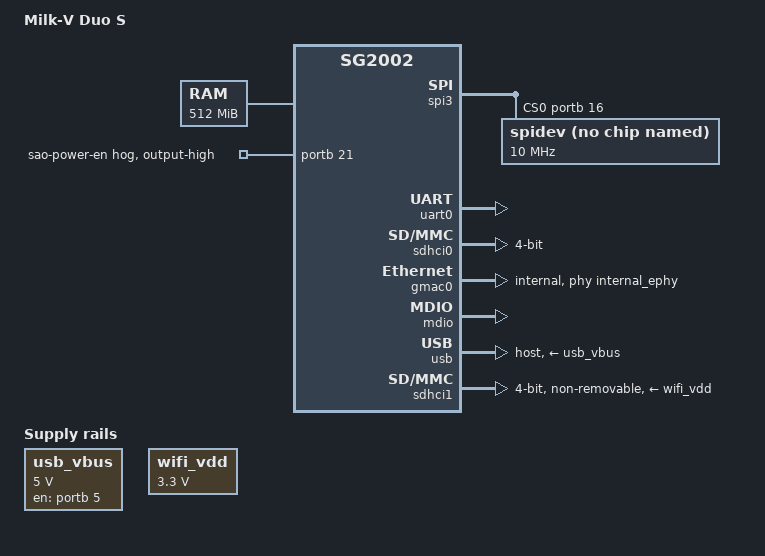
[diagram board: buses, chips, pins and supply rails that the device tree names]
// SPDX-License-Identifier: (GPL-2.0 OR MIT)
/*
 * Device tree for the Milk-V Duo S RISC-V core (Sophgo SG2000, T-Head C906).
 *
 * The SG2000 die is the SG2002 family (cv181x/cv180x) with an added ARM core.
 * From the C906 the SoC is identical to the SG2002. The mainline sg2002.dtsi
 * applies directly.
 *
 * Based on arch/riscv/boot/dts/sophgo/sg2002-licheerv-nano-b.dts.
 *
 * Nodes included (boot-focused):
 *   - uart0: console at ttyS0, 115200n8.
 *   - sdhci0: SD card root (NIXOS_RISCV label), 4-bit bus.
 *   - osc: 25 MHz oscillator (same as LicheeRV Nano).
 *   - memory: overrides the sg2002.dtsi 256MB with 512MB
 *     (0x80000000/0x20000000) to match the firmware memory map.
 *   - Ethernet/gmac0: SG2000 internal EPHY (phy-mode = "internal"). No external
 *     PHY. The dtsi sets phy-handle=<&internal_ephy> and phy-mode="internal";
 *     enable the MAC and MDIO. Mirrors mainline cv1812h-huashan-pi.dts.
 *   - USB: dr_mode = "host" for the USB-A host port. VBUS enable is GPIO portb
 *     pin 5 (USB_VBUS_EN); upstream omits the regulator node.
 *
 * Nodes omitted:
 *   - LEDs, GPIO buttons, camera/CSI: not in the mainline sg2002 dtsi.
 *
 * The CPU (thead,c906, rv64imafdc, sv39) comes from cv180x-cpus.dtsi via
 * sg2002.dtsi.
 */

/dts-v1/;
#include "sg2002.dtsi"
#include <dt-bindings/gpio/gpio.h>

/*
 * Pin IDs and the pin controller.
 *
 * The Duo S carries an SG2000 die, not the SG2002 that sg2002.dtsi assumes.
 * The two packages have different pin tables and are not interchangeable:
 *
 *   pinctrl-sg2002.h   65 QFN pins, flat indices,   no VIVO pads
 *   pinctrl-sg2000.h  110 BGA pins, row/col coords, has VIVO pads
 *
 * For example UART0_TX is 18 on SG2002 but PINPOS('M', 5) on SG2000.
 *
 * SPI3 drives the WS2812 LED ring. The SPI3 pads are VIVO_D5..D8, which the
 * SG2002 table cannot name. Bind the pin controller to the SG2000 driver (see
 * the &pinctrl compatible override below) and give every pinmux an SG2000
 * coordinate. These identifiers match the ARM DTS, so both cores name the pads
 * the same way.
 *
 * Define the pads here rather than include pinctrl-sg2000.h. sg2002.dtsi
 * already includes pinctrl-sg2002.h, and the two headers define the same PIN_*
 * names with different values.
 */
#define PINPOS(row, col)	((((row) - 'A' + 1) << 8) + ((col) - 1))

#define DUOS_UART0_TX		PINPOS('M', 5)
#define DUOS_UART0_RX		PINPOS('M', 4)

#define DUOS_SD0_CLK		PINPOS('L', 1)
#define DUOS_SD0_CMD		PINPOS('L', 3)
#define DUOS_SD0_D0		PINPOS('L', 2)
#define DUOS_SD0_D1		PINPOS('K', 3)
#define DUOS_SD0_D2		PINPOS('M', 2)
#define DUOS_SD0_D3		PINPOS('M', 1)
#define DUOS_SD0_CD		PINPOS('K', 2)

#define DUOS_SD1_CLK		PINPOS('G', 14)
#define DUOS_SD1_CMD		PINPOS('G', 15)
#define DUOS_SD1_D0		PINPOS('H', 15)
#define DUOS_SD1_D1		PINPOS('H', 14)
#define DUOS_SD1_D2		PINPOS('F', 14)
#define DUOS_SD1_D3		PINPOS('G', 13)

/* SPI3 on the 40-pin header: pin19 MOSI, pin21 MISO, pin23 SCK, pin24 CS */
#define DUOS_VIVO_D5		PINPOS('B', 10)
#define DUOS_VIVO_D6		PINPOS('C', 10)
#define DUOS_VIVO_D7		PINPOS('B', 11)
#define DUOS_VIVO_D8		PINPOS('C', 11)

/ {
	model = "Milk-V Duo S";
	compatible = "milkv,duo-s", "sophgo,sg2002";

	aliases {
		serial0 = &uart0;
		/* The SPI core sets bus_num from of_alias_get_id(node, "spi")
		 * and falls back to dynamic numbering when no alias matches
		 * (drivers/spi/spi.c). Without this alias the only enabled
		 * controller takes bus 0 and spidev appears as /dev/spidev0.0. */
		spi3 = &spi3;
	};

	chosen {
		stdout-path = "serial0:115200n8";
	};

	/* Override the sg2002.dtsi 256MB with 512MB to match the firmware memmap. */
	memory@80000000 {
		device_type = "memory";
		reg = <0x80000000 0x20000000>;
	};

	/*
	 * OpenSBI stays resident in M-mode at 0x80000000 and PMP-protects its
	 * own memory from S-mode. Its boot banner states the regions:
	 *
	 *   Domain0 Region01 : 0x80000000-0x8003ffff M: (F,R,X) S/U: ()
	 *   Domain0 Region00 : 0x80040000-0x8005ffff M: (F,R,W) S/U: ()
	 *
	 * So 0x80000000..0x8005ffff (384 KB) is unreachable from Linux.
	 *
	 * OpenSBI normally patches an mmode_resv node into the device tree it
	 * hands onward. The boot chain is OpenSBI -> U-Boot -> a DTB loaded
	 * fresh from the FAT boot partition, so that fixup never reaches the
	 * DTB that Linux receives. Without this node the kernel treats the
	 * firmware memory as free RAM, hands out the page at 0x80000000, and
	 * faults when it zeroes that page (physical 0x80000000 maps to
	 * PAGE_OFFSET_L3, the base of the sv39 linear map).
	 *
	 * Reserve 512 KB, the 384 KB rounded up, to allow room for an OpenSBI
	 * version bump.
	 */
	reserved-memory {
		#address-cells = <1>;
		#size-cells = <1>;
		ranges;

		mmode_resv0@80000000 {
			reg = <0x80000000 0x80000>;
			no-map;
		};
	};
};

&osc {
	clock-frequency = <25000000>;
};

/* Rebind the pin controller to the SG2000 driver so the VIVO pads exist. The
 * node (pinctrl@3001000) comes from sg2002.dtsi as "sophgo,sg2002-pinctrl".
 * Both drivers use the same register block but a different pin table.
 * CONFIG_PINCTRL_SOPHGO_SG2000 must be enabled in the kernel. */
&pinctrl {
	compatible = "sophgo,sg2000-pinctrl";

	uart0_cfg: uart0-cfg {
		uart0-pins {
			pinmux = <PINMUX(DUOS_UART0_TX, 0)>,
				 <PINMUX(DUOS_UART0_RX, 0)>;
			bias-pull-up;
			drive-strength-microamp = <10800>;
			power-source = <3300>;
		};
	};

	sdhci0_cfg: sdhci0-cfg {
		sdhci0-clk-pins {
			pinmux = <PINMUX(DUOS_SD0_CLK, 0)>;
			bias-pull-up;
			drive-strength-microamp = <16100>;
			power-source = <3300>;
		};

		sdhci0-cmd-pins {
			pinmux = <PINMUX(DUOS_SD0_CMD, 0)>;
			bias-pull-up;
			drive-strength-microamp = <10800>;
			power-source = <3300>;
		};

		sdhci0-data-pins {
			pinmux = <PINMUX(DUOS_SD0_D0, 0)>,
				 <PINMUX(DUOS_SD0_D1, 0)>,
				 <PINMUX(DUOS_SD0_D2, 0)>,
				 <PINMUX(DUOS_SD0_D3, 0)>;
			bias-pull-up;
			drive-strength-microamp = <10800>;
			power-source = <3300>;
		};

		sdhci0-cd-pins {
			pinmux = <PINMUX(DUOS_SD0_CD, 0)>;
			bias-pull-up;
			drive-strength-microamp = <10800>;
			power-source = <3300>;
		};
	};

	/* SPI3 for the WS2812 ring, mux 5 on the VIVO pads. Each subnode needs
	 * power-source: the mainline sophgo pinctrl rejects a pinmux subnode
	 * without it and fails pinctrl_bind_pins before dw_spi_mmio_probe runs. */
	spi3_cfg: spi3-cfg {
		spi3-sck-pins {
			pinmux = <PINMUX(DUOS_VIVO_D6, 5)>;
			drive-strength-microamp = <10800>;
			power-source = <3300>;
		};

		spi3-sdo-pins {
			pinmux = <PINMUX(DUOS_VIVO_D8, 5)>;
			drive-strength-microamp = <10800>;
			power-source = <3300>;
		};

		spi3-sdi-pins {
			pinmux = <PINMUX(DUOS_VIVO_D7, 5)>;
			drive-strength-microamp = <10800>;
			power-source = <3300>;
		};

		/* CS is a GPIO here, not SPI3_CS. Mux 3 is XGPIOB_16; mux 5
		 * would be SPI3_CS. U10 gates LED_DIN with CS through an AND
		 * gate and needs CS active-high, which the native DW CS cannot
		 * do. See the cs-gpios comment on &spi3. */
		spi3-cs-pins {
			pinmux = <PINMUX(DUOS_VIVO_D5, 3)>;
			drive-strength-microamp = <10800>;
			power-source = <3300>;
		};
	};
};

/* SPI3 drives the WS2812 LED ring through spidev. cv180x.dtsi already declares
 * the controller (spi@41b0000) with its clocks, interrupt and RST_SPI3 reset;
 * it is only disabled. Enable it below. */
&spi3 {
	num-cs = <1>;
	/* No DMA. The mainline dw-axi-dmac cannot do slave DMA on this SoC.
	 * dw_axi_dma_set_hw_channel() programs the handshake number through a
	 * second register window (apb_regs), mapped only for compatibles with
	 * AXI_DMA_FLAG_HAS_APB_REGS. snps,axi-dma-1.01a has no such flag, and on
	 * the SG2000 the handshake selection lives in the dmamux instead. With
	 * dmas = <&dmamux 23 1>, <&dmamux 22 1> every slave prepare fails with
	 * "apb_regs not initialized". The IDs are correct (SPI3_TX 23, SPI3_RX
	 * 22, cpu 0 = CA53 / 1 = C906B); the driver support is not. Use PIO. */
	/* GPIO chip select, active-high. U10 wires LED_DIN = CS AND SDO, so the
	 * AND gate passes data only while CS is high.
	 *
	 * The native DW CS cannot do this. dw_spi_set_cs only decides whether to
	 * set the Slave Enable bit; SER is set regardless of active-high or
	 * active-low CS level, so the pad stays active-low and SPI_CS_HIGH has
	 * no effect. A gpiod CS honours polarity, and dw_spi sets
	 * SPI_CONTROLLER_GPIO_SS so SER is still raised and data still flows.
	 *
	 * VIVO_D5 is XGPIOB_16 at mux 3, hence the GPIO mux in &spi3_cfg. */
	cs-gpios = <&portb 16 GPIO_ACTIVE_HIGH>;
	pinctrl-0 = <&spi3_cfg>;
	pinctrl-names = "default";
	status = "okay";

	/* spidev binds known compatibles only. rohm,dh2228fv is in
	 * spidev_dt_ids and gives /dev/spidev3.0. */
	spidev@0 {
		compatible = "rohm,dh2228fv";
		reg = <0>;
		spi-max-frequency = <10000000>;
		/* Required for the U10 AND gate. The GPIO_ACTIVE_HIGH flag on
		 * cs-gpios does not decide polarity: gpiolib-of.c forces every
		 * SPI cs-gpio active-low unless the child node carries
		 * "spi-cs-high" (SPI children default to active-low chip
		 * selects). Without this the line comes up active-low, so CS
		 * goes low during transfers, the AND gate emits zero, and the
		 * LEDs receive nothing. */
		spi-cs-high;
	};
};

/*
 * GPIO line names, so gpioinfo reads as a wiring diagram instead of a list of
 * numbers.
 *
 * Names only. This sets no direction, no pull and no pad mux, so it cannot
 * change board behaviour. Every consumer still claims its own line.
 *
 * porta and portb are XGPIOA and XGPIOB. The board also uses a porte
 * (PWR_GPIO, the RTC domain block at 0x05021000) for the USER button and the
 * HDMI I2C pads. Mainline has no such controller node and pinctrl-sg2000.h
 * names only PWR_GPIO0..2, so those lines are not representable here.
 */
&porta {
	gpio-line-names =
		"",                  /* 0  CAM_MCLK0 (pin 12, NC) */
		"hdmi-5v-fault-n",   /* 1  U19 /FAULT */
		"", "", "", "", "", "",
		"", "",
		"",                  /* 10 SD_D1 */
		"", "",
		"sd-cd-n",           /* 13 SD card detect */
		"",
		"wifi-poweron",      /* 15 on-module AIC8800 */
		"",                  /* 16 UART0_TX */
		"",
		"jtag-tck",          /* 18 */
		"jtag-tms",          /* 19 */
		"jtag-trst",         /* 20 */
		"", "", "", "", "", "", "",
		"jtag-tdi",          /* 28 v1A datasheet swaps TDI/TDO */
		"jtag-tdo",          /* 29 */
		"usb-5v-fault-n",    /* 30 U5 /FAULT */
		"";
};

&portb {
	gpio-line-names =
		"pwm0-buck",         /* 0 */
		"adc3-j6",           /* 1  SARADC ch3 */
		"adc-vbat",          /* 2  SARADC ch2 */
		"adc-vsel",          /* 3  SARADC ch1 */
		"btn-boot-n",        /* 4  S1, also the ROM recovery strap */
		"usb-host-vbus-en",  /* 5  wired-AND with SERIAL_VBUS */
		"usb-vbus-det",      /* 6 */
		"", "", "", "",
		"core-sel-latch-clk",/* 11 U2 74AUP1G175 CP */
		"core-sel-latch-d",  /* 12 1=ARM, 0=RISC-V on next boot */
		"",                  /* 13 SPI3_SDO, LED chain via U10 */
		"",                  /* 14 SPI3_SDI */
		"",                  /* 15 SPI3_SCK */
		"",                  /* 16 SPI3_CS, gates LED_DIN via U10 */
		"sao-sda",           /* 17 IIC1 through U12 TXS0104E */
		"sao-scl",           /* 18 IIC1 */
		"sao-gpio2",         /* 19 */
		"sao-fault-n",       /* 20 U13 /FAULT */
		"sao-power-en",      /* 21 U13 EN + U12 OE */
		"sd-fault-n",        /* 22 U8 /FAULT */
		"core-sel-strap",    /* 23 readback: 1=RISC-V, 0=ARM */
		"", "", "", "", "", "", "", "";

	/* Enable the SAO connector power (U13 EN + U12 OE) at boot. */
	sao-power-en-hog {
		gpio-hog;
		gpios = <21 GPIO_ACTIVE_HIGH>;
		output-high;
		line-name = "sao-power-en";
	};
};

/* Console UART */
&uart0 {
	pinctrl-0 = <&uart0_cfg>;
	pinctrl-names = "default";
	status = "okay";
};

/* SD card (rootfs on NIXOS_RISCV label) */
&sdhci0 {
	pinctrl-0 = <&sdhci0_cfg>;
	pinctrl-names = "default";
	bus-width = <4>;
	no-1-8-v;
	no-mmc;
	no-sdio;
	disable-wp;
	status = "okay";
};

/* On-chip 10/100 Ethernet: SG2000 internal EPHY to the RJ45 magnetics, no
 * external PHY. Set phy-mode = "internal" with the internal EPHY handle and
 * enable the MAC and MDIO. Mirrors mainline cv1812h-huashan-pi.dts.
 * Note: mainline 7.0.x has no driver to power or init the internal EPHY, so
 * eth0 registers but does not link until the EPHY is initialized (in U-Boot or
 * a kernel driver). The DT is ready for that. */
&gmac0 {
	status = "okay";
	phy-mode = "internal";
	phy-handle = <&internal_ephy>;
};

&mdio {
	status = "okay";
};

/*
 * USB: SG2002/SG2000 DWC2 OTG core driving the USB-A host port.
 * dr_mode = "host" for the USB-A host port. USB_VBUS_EN = GPIO portb pin 5
 * gates VBUS, modelled as a fixed regulator so the port powers bus-powered
 * devices.
 */
/ {
	usb_vbus: regulator-usb-vbus {
		compatible = "regulator-fixed";
		regulator-name = "usb-vbus";
		regulator-min-microvolt = <5000000>;
		regulator-max-microvolt = <5000000>;
		gpio = <&portb 5 GPIO_ACTIVE_HIGH>;
		enable-active-high;
		regulator-boot-on;
	};
};

&usb {
	dr_mode = "host";
	vbus-supply = <&usb_vbus>;
	status = "okay";
};

/*
 * Onboard WiFi: AICSemi AIC8800 on the SDIO bus mmc@4320000 (label sdhci1).
 * mmc@4310000 = SD card (sdhci0), mmc@4300000 = eMMC. GPIO PORTA pin 15
 * (WL_REG_ON, active-high) powers the AIC8800. The &sdhci1 poweron-gpios
 * raises it before the SDIO scan so the chip enumerates on the bus (vid
 * 0xC8A1). The out-of-tree aic8800 driver and firmware are separate.
 */
/ {
	/* A single consumer drives WL_REG_ON (porta15). Do not add a separate
	 * wifi_pwrseq: two consumers of porta15 route through gpio-shared-proxy
	 * (can_sleep), and aicbsp then drives WL_REG_ON with a non-sleeping
	 * gpiod_set_value. */

	/* Core VDD 3.3V OCR window. cv18xx-vsw takes bus I/O to 1.8V physically
	 * under NO_1_8_V, so there is no 1.8V vqmmc regulator. */
	wifi_vdd: regulator-wifi-vdd {
		compatible = "regulator-fixed";
		regulator-name = "aic8800-vdd";
		regulator-min-microvolt = <3300000>;
		regulator-max-microvolt = <3300000>;
		regulator-always-on;
		regulator-boot-on;
	};
};

/*
 * WiFi SDIO bus pads. The mmc@4320000 controller uses the SD1 pads
 * (DUOS_SD1_*, mux 0 = SDIO1, same scheme as the SD0 pads for the card).
 * Without this mux the pads stay on their default function and the AIC8800
 * never answers the SDIO probe.
 */
&pinctrl {
	sdhci1_cfg: sdhci1-cfg {
		/* 1.8V pads. The AIC8800 VIO is fixed 1.8V; cv18xx-vsw drives the rail. */
		sdhci1-clk-pins {
			pinmux = <PINMUX(DUOS_SD1_CLK, 0)>;
			bias-pull-up;
			drive-strength-microamp = <16100>;
			power-source = <1800>;
		};

		sdhci1-cmd-pins {
			pinmux = <PINMUX(DUOS_SD1_CMD, 0)>;
			bias-pull-up;
			drive-strength-microamp = <10800>;
			power-source = <1800>;
		};

		sdhci1-data-pins {
			pinmux = <PINMUX(DUOS_SD1_D0, 0)>,
				 <PINMUX(DUOS_SD1_D1, 0)>,
				 <PINMUX(DUOS_SD1_D2, 0)>,
				 <PINMUX(DUOS_SD1_D3, 0)>;
			bias-pull-up;
			drive-strength-microamp = <10800>;
			power-source = <1800>;
		};
	};
};

&sdhci1 {
	/* Vendor SDHCI: bind the cvitek cv181x host (cvitek,cv181x-sdio) so the
	 * AIC8800 fmac gets the vendor SDIO bring-up. clk_wifisd = SD1 functional
	 * clock (source, set from src-frequency); axi = register-bus clock.
	 * cv180x.dtsi provides the same CLK_SD1/CLK_AXI4_SD1 macros and &clk label
	 * as sg2000. */
	status = "okay";
	sophgo,sdio-inst1;
	compatible = "cvitek,cv181x-sdio";
	clocks = <&clk CLK_SD1>, <&clk CLK_AXI4_SD1>;
	clock-names = "clk_wifisd", "axi";
	bus-width = <4>;
	non-removable;
	no-mmc;
	no-sd;
	cap-sdio-irq;
	keep-power-in-suspend;
	/* 375MHz SDIO source clock (src-frequency, read by the cvi host). The
	 * card clock = f_max/4 = 46.875MHz at max-frequency = 187.5MHz;
	 * get_max_clock returns f_max as the sdhci divider base. */
	src-frequency = <375000000>;
	max-frequency = <187500000>;
	vmmc-supply = <&wifi_vdd>;
	pinctrl-0 = <&sdhci1_cfg>;
	pinctrl-names = "default";
	/* The cv181x host drives WL_REG_ON low at probe (card absent). The aic
	 * CONFIG_PLATFORM_CVITEK path raises it and calls cvi_sdio_rescan() to
	 * enumerate the fmac in bootrom mode so its message task starts. */
	poweron-gpios = <&porta 15 GPIO_ACTIVE_HIGH>;
};
